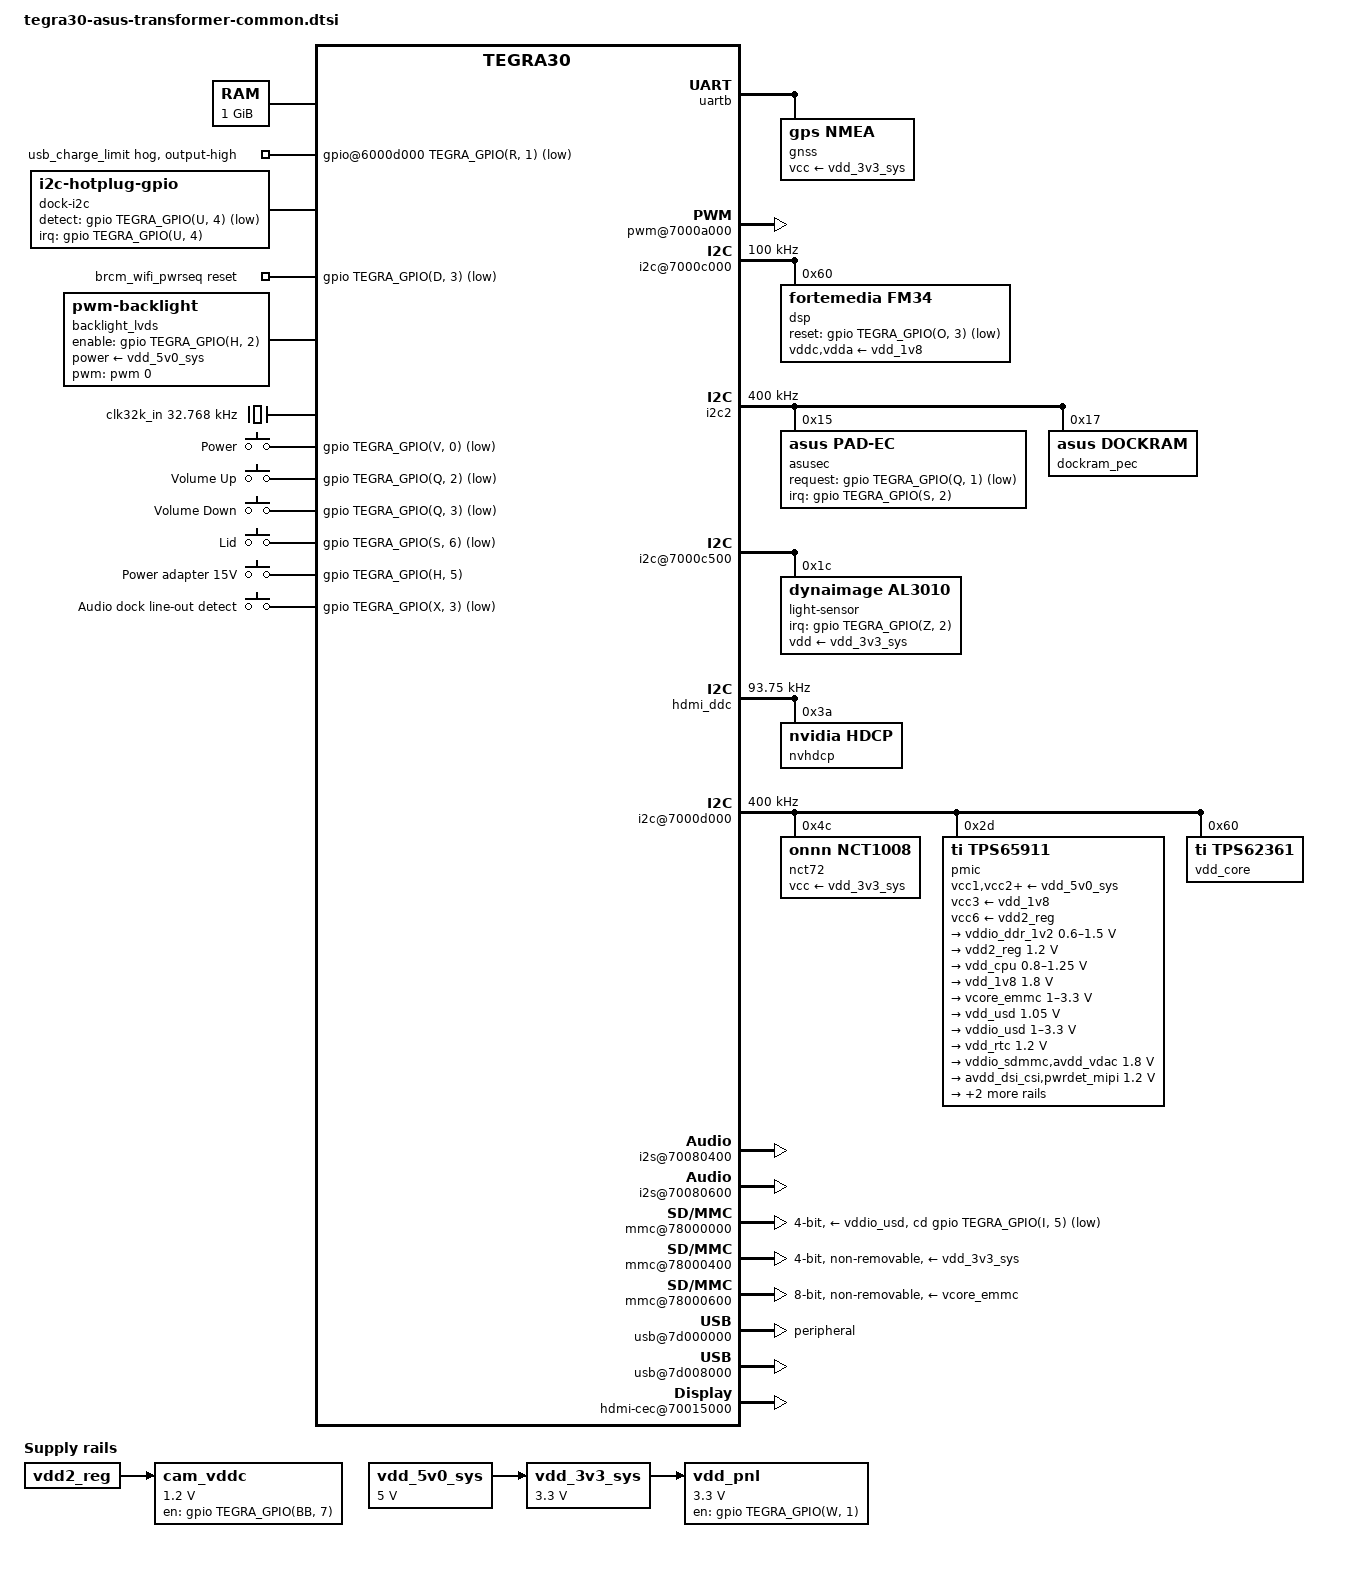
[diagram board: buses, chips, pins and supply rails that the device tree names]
// SPDX-License-Identifier: GPL-2.0

/* This dtsi file describes parts common for all T30 Transformers from Asus */

#include <dt-bindings/input/gpio-keys.h>
#include <dt-bindings/input/input.h>
#include <dt-bindings/thermal/thermal.h>

#include "tegra30.dtsi"
#include "tegra30-cpu-opp.dtsi"
#include "tegra30-cpu-opp-microvolt.dtsi"

/ {
	aliases {
		rtc0 = &pmic;
		rtc1 = "/rtc@7000e000";

		display0 = &lcd;
		display1 = &hdmi;

		serial0 = &uartd; /* reserved: console */
		serial1 = &uartc; /* Bluetooth */
		serial2 = &uartb; /* GPS */
	};

	/*
	 * The decompressor and also some bootloaders rely on a
	 * pre-existing /chosen node to be available to insert the
	 * command line and merge other ATAGS info.
	 */
	chosen {};

	memory@80000000 {
		reg = <0x80000000 0x40000000>;
	};

	reserved-memory {
		#address-cells = <1>;
		#size-cells = <1>;
		ranges;

		linux,cma@80000000 {
			compatible = "shared-dma-pool";
			alloc-ranges = <0x80000000 0x30000000>;
			size = <0x10000000>; /* 256MiB */
			linux,cma-default;
			reusable;
		};

		ramoops@beb00000 {
			compatible = "ramoops";
			reg = <0xbeb00000 0x10000>;	/* 64kB */
			console-size = <0x8000>;	/* 32kB */
			record-size = <0x400>;		/*  1kB */
			ecc-size = <16>;
		};

		framebuffer@abc01000 {
			reg = <0xabc01000 0x3e9000>;
			no-map;
		};

		lp0_vec@bddf9000 {
			reg = <0xbddf9000 0x2000>;	// passed from bootloader (ATAGS/NVIDIA, cmdline)
		};

		trustzone@bfe00000 {
			// used by TF firmware
			reg = <0xbfe00000 0x200000>;	/* 2MB */
			no-map;
		};
	};

	gpio@6000d000 {
		usb_charge_limit {
			gpio-hog;
			gpios = <TEGRA_GPIO(R, 1) GPIO_ACTIVE_LOW>;	// LIMIT_SET0, out, lo; @tegra_udc.LIMIT_PWR [0 = 0.5A, 1 = 1A]
			output-high;
		};
	};

	pinmux@70000868 {
		pinctrl-names = "default";
		pinctrl-0 = <&state_default>;

		state_default: pinmux {
			/* SDMMC1 pinmux */
			sdmmc1_clk_pz0 {
				nvidia,pins = "sdmmc1_clk_pz0";
				nvidia,function = "sdmmc1";
				nvidia,pull = <TEGRA_PIN_PULL_NONE>;
				nvidia,tristate = <TEGRA_PIN_DISABLE>;
				nvidia,enable-input = <TEGRA_PIN_ENABLE>;
			};
			sdmmc1_cmd_pz1 {
				nvidia,pins = "sdmmc1_cmd_pz1",
						"sdmmc1_dat3_py4",
						"sdmmc1_dat2_py5",
						"sdmmc1_dat1_py6",
						"sdmmc1_dat0_py7";
				nvidia,function = "sdmmc1";
				nvidia,pull = <TEGRA_PIN_PULL_UP>;
				nvidia,tristate = <TEGRA_PIN_DISABLE>;
				nvidia,enable-input = <TEGRA_PIN_ENABLE>;
			};

			/* SDMMC3 pinmux */
			vi_d1_pd5 {
				nvidia,pins = "vi_d1_pd5",
						"vi_d2_pl0",
						"vi_d3_pl1",
						"vi_d5_pl3",
						"vi_d7_pl5";
				nvidia,function = "sdmmc2";
				nvidia,pull = <TEGRA_PIN_PULL_NONE>;
				nvidia,tristate = <TEGRA_PIN_DISABLE>;
				nvidia,enable-input = <TEGRA_PIN_ENABLE>;
			};
			vi_d8_pl6 {
				nvidia,pins = "vi_d8_pl6",
						"vi_d9_pl7";
				nvidia,function = "sdmmc2";
				nvidia,pull = <TEGRA_PIN_PULL_NONE>;
				nvidia,tristate = <TEGRA_PIN_DISABLE>;
				nvidia,enable-input = <TEGRA_PIN_ENABLE>;
			};

			/* SDMMC3 pinmux */
			sdmmc3_clk_pa6 {
				nvidia,pins = "sdmmc3_clk_pa6";
				nvidia,function = "sdmmc3";
				nvidia,pull = <TEGRA_PIN_PULL_NONE>;
				nvidia,tristate = <TEGRA_PIN_DISABLE>;
				nvidia,enable-input = <TEGRA_PIN_ENABLE>;
			};
			sdmmc3_cmd_pa7 {
				nvidia,pins = "sdmmc3_cmd_pa7",
						"sdmmc3_dat0_pb7",
						"sdmmc3_dat1_pb6",
						"sdmmc3_dat2_pb5",
						"sdmmc3_dat3_pb4",
						"sdmmc3_dat4_pd1",	/* Power rails GPIO */
						"sdmmc3_dat5_pd0",	/* Power rails GPIO */
						"sdmmc3_dat6_pd3",	/* RESET */
						"sdmmc3_dat7_pd4";	/* Power down */
				nvidia,function = "sdmmc3";
				nvidia,pull = <TEGRA_PIN_PULL_UP>;
				nvidia,tristate = <TEGRA_PIN_DISABLE>;
				nvidia,enable-input = <TEGRA_PIN_ENABLE>;
			};

			/* SDMMC4 pinmux */
			sdmmc4_clk_pcc4 {
				nvidia,pins = "sdmmc4_clk_pcc4";
				nvidia,function = "sdmmc4";
				nvidia,pull = <TEGRA_PIN_PULL_NONE>;
				nvidia,tristate = <TEGRA_PIN_DISABLE>;
				nvidia,enable-input = <TEGRA_PIN_ENABLE>;
			};
			sdmmc4_cmd_pt7 {
				nvidia,pins = "sdmmc4_cmd_pt7",
						"sdmmc4_dat0_paa0",
						"sdmmc4_dat1_paa1",
						"sdmmc4_dat2_paa2",
						"sdmmc4_dat3_paa3",
						"sdmmc4_dat4_paa4",
						"sdmmc4_dat5_paa5",
						"sdmmc4_dat6_paa6",
						"sdmmc4_dat7_paa7";
				nvidia,function = "sdmmc4";
				nvidia,pull = <TEGRA_PIN_PULL_UP>;
				nvidia,tristate = <TEGRA_PIN_DISABLE>;
				nvidia,enable-input = <TEGRA_PIN_ENABLE>;
			};

			/* I2C1 pinmux */
			gen1_i2c_scl_pc4 {
				nvidia,pins = "gen1_i2c_scl_pc4",
						"gen1_i2c_sda_pc5";
				nvidia,function = "i2c1";
				nvidia,pull = <TEGRA_PIN_PULL_NONE>;
				nvidia,tristate = <TEGRA_PIN_DISABLE>;
				nvidia,enable-input = <TEGRA_PIN_ENABLE>;
				nvidia,open-drain = <TEGRA_PIN_ENABLE>;
			};

			/* I2C2 pinmux */
			gen2_i2c_scl_pt5 {
				nvidia,pins = "gen2_i2c_scl_pt5",
						"gen2_i2c_sda_pt6";
				nvidia,function = "i2c2";
				nvidia,pull = <TEGRA_PIN_PULL_NONE>;
				nvidia,tristate = <TEGRA_PIN_DISABLE>;
				nvidia,enable-input = <TEGRA_PIN_ENABLE>;
				nvidia,open-drain = <TEGRA_PIN_ENABLE>;
			};

			/* I2C3 pinmux */
			cam_i2c_scl_pbb1 {
				nvidia,pins = "cam_i2c_scl_pbb1",
						"cam_i2c_sda_pbb2";
				nvidia,function = "i2c3";
				nvidia,pull = <TEGRA_PIN_PULL_NONE>;
				nvidia,tristate = <TEGRA_PIN_DISABLE>;
				nvidia,enable-input = <TEGRA_PIN_ENABLE>;
				nvidia,open-drain = <TEGRA_PIN_ENABLE>;
			};

			/* I2C4 pinmux */
			ddc_scl_pv4 {
				nvidia,pins = "ddc_scl_pv4",
						"ddc_sda_pv5";
				nvidia,function = "i2c4";
				nvidia,pull = <TEGRA_PIN_PULL_NONE>;
				nvidia,tristate = <TEGRA_PIN_DISABLE>;
				nvidia,enable-input = <TEGRA_PIN_ENABLE>;
				nvidia,open-drain = <TEGRA_PIN_ENABLE>;
			};

			/* Power I2C pinmux */
			pwr_i2c_scl_pz6 {
				nvidia,pins = "pwr_i2c_scl_pz6",
						"pwr_i2c_sda_pz7";
				nvidia,function = "i2cpwr";
				nvidia,pull = <TEGRA_PIN_PULL_NONE>;
				nvidia,tristate = <TEGRA_PIN_DISABLE>;
				nvidia,enable-input = <TEGRA_PIN_ENABLE>;
				nvidia,open-drain = <TEGRA_PIN_ENABLE>;
			};

			/* HDMI-CEC  pinmux */
			hdmi_cec_pee3 {
				nvidia,pins = "hdmi_cec_pee3";
				nvidia,function = "cec";
				nvidia,pull = <TEGRA_PIN_PULL_NONE>;
				nvidia,tristate = <TEGRA_PIN_DISABLE>;
				nvidia,enable-input = <TEGRA_PIN_ENABLE>;
				nvidia,open-drain = <TEGRA_PIN_DISABLE>;
			};

			/* UART-A */
			ulpi_data0_po1 {
				nvidia,pins = "ulpi_data0_po1";
				nvidia,function = "uarta";
				nvidia,pull = <TEGRA_PIN_PULL_NONE>;
				nvidia,tristate = <TEGRA_PIN_DISABLE>;
				nvidia,enable-input = <TEGRA_PIN_DISABLE>;
			};
			ulpi_data1_po2 {
				nvidia,pins = "ulpi_data1_po2";
				nvidia,function = "uarta";
				nvidia,pull = <TEGRA_PIN_PULL_DOWN>;
				nvidia,tristate = <TEGRA_PIN_ENABLE>;
				nvidia,enable-input = <TEGRA_PIN_ENABLE>;
			};
			ulpi_data5_po6 {
				nvidia,pins = "ulpi_data5_po6";
				nvidia,function = "uarta";
				nvidia,pull = <TEGRA_PIN_PULL_NONE>;
				nvidia,tristate = <TEGRA_PIN_ENABLE>;
				nvidia,enable-input = <TEGRA_PIN_ENABLE>;
			};
			ulpi_data2_po3 {
				nvidia,pins = "ulpi_data2_po3",
						"ulpi_data3_po4",
						"ulpi_data4_po5",
						"ulpi_data6_po7",
						"ulpi_data7_po0";
				nvidia,function = "uarta";
				nvidia,pull = <TEGRA_PIN_PULL_NONE>;
				nvidia,tristate = <TEGRA_PIN_DISABLE>;
				nvidia,enable-input = <TEGRA_PIN_ENABLE>;
			};

			/* UART-B */
			uart2_rts_n_pj6 {
				nvidia,pins = "uart2_rts_n_pj6";
				nvidia,function = "uartb";
				nvidia,pull = <TEGRA_PIN_PULL_NONE>;
				nvidia,tristate = <TEGRA_PIN_DISABLE>;
				nvidia,enable-input = <TEGRA_PIN_DISABLE>;
			};
			uart2_cts_n_pj5 {
				nvidia,pins = "uart2_cts_n_pj5";
				nvidia,function = "uartb";
				nvidia,pull = <TEGRA_PIN_PULL_NONE>;
				nvidia,tristate = <TEGRA_PIN_DISABLE>;
				nvidia,enable-input = <TEGRA_PIN_ENABLE>;
			};

			/* UART-C */
			uart3_cts_n_pa1 {
				nvidia,pins = "uart3_cts_n_pa1",
						"uart3_rxd_pw7";
				nvidia,function = "uartc";
				nvidia,pull = <TEGRA_PIN_PULL_NONE>;
				nvidia,tristate = <TEGRA_PIN_DISABLE>;
				nvidia,enable-input = <TEGRA_PIN_ENABLE>;
			};
			uart3_rts_n_pc0 {
				nvidia,pins = "uart3_rts_n_pc0",
						"uart3_txd_pw6";
				nvidia,function = "uartc";
				nvidia,pull = <TEGRA_PIN_PULL_NONE>;
				nvidia,tristate = <TEGRA_PIN_DISABLE>;
				nvidia,enable-input = <TEGRA_PIN_DISABLE>;
			};

			/* UART-D */
			ulpi_nxt_py2 {
				nvidia,pins = "ulpi_nxt_py2";
				nvidia,function = "uartd";
				nvidia,pull = <TEGRA_PIN_PULL_NONE>;
				nvidia,tristate = <TEGRA_PIN_ENABLE>;
				nvidia,enable-input = <TEGRA_PIN_ENABLE>;
			};
			ulpi_stp_py3 {
				nvidia,pins = "ulpi_stp_py3",
						"ulpi_clk_py0",		/* UART4_TXD is reserved for UART debug */
						"ulpi_dir_py1";		/* UART4_RXD is reserved for UART debug */
				nvidia,function = "uartd";
				nvidia,pull = <TEGRA_PIN_PULL_NONE>;
				nvidia,tristate = <TEGRA_PIN_ENABLE>;
				nvidia,enable-input = <TEGRA_PIN_DISABLE>;
			};

			/* I2S0 pinmux */
			dap1_fs_pn0 {
				nvidia,pins = "dap1_fs_pn0",
						"dap1_din_pn1",
						"dap1_dout_pn2",
						"dap1_sclk_pn3";
				nvidia,function = "i2s0";
				nvidia,pull = <TEGRA_PIN_PULL_NONE>;
				nvidia,tristate = <TEGRA_PIN_ENABLE>;
				nvidia,enable-input = <TEGRA_PIN_ENABLE>;
			};

			/* I2S1 pinmux */
			dap2_fs_pa2 {
				nvidia,pins = "dap2_fs_pa2",
						"dap2_sclk_pa3",
						"dap2_din_pa4",
						"dap2_dout_pa5";
				nvidia,function = "i2s1";
				nvidia,pull = <TEGRA_PIN_PULL_NONE>;
				nvidia,tristate = <TEGRA_PIN_DISABLE>;
				nvidia,enable-input = <TEGRA_PIN_ENABLE>;
			};

			/* I2S2 pinmux */
			dap3_fs_pp0 {
				nvidia,pins = "dap3_fs_pp0",
						"dap3_din_pp1";
				nvidia,function = "i2s2";
				nvidia,pull = <TEGRA_PIN_PULL_NONE>;
				nvidia,tristate = <TEGRA_PIN_ENABLE>;
				nvidia,enable-input = <TEGRA_PIN_ENABLE>;
			};
			dap2_dout_pp2 {
				nvidia,pins = "dap3_dout_pp2",
						"dap3_sclk_pp3";
				nvidia,function = "i2s2";
				nvidia,pull = <TEGRA_PIN_PULL_NONE>;
				nvidia,tristate = <TEGRA_PIN_DISABLE>;
				nvidia,enable-input = <TEGRA_PIN_ENABLE>;
			};

			/* I2S3 pinmux */
			dap4_fs_pp4 {
				nvidia,pins = "dap4_fs_pp4",
						"dap4_din_pp5",
						"dap4_dout_pp6",
						"dap4_sclk_pp7";
				nvidia,function = "i2s3";
				nvidia,pull = <TEGRA_PIN_PULL_NONE>;
				nvidia,tristate = <TEGRA_PIN_DISABLE>;
				nvidia,enable-input = <TEGRA_PIN_ENABLE>;
			};

			/* I2S4 pinmux */
			pbb2 {
				nvidia,pins = "pcc2";
				nvidia,function = "i2s4";
				nvidia,pull = <TEGRA_PIN_PULL_NONE>;
				nvidia,tristate = <TEGRA_PIN_DISABLE>;
				nvidia,enable-input = <TEGRA_PIN_ENABLE>;
			};

			/* PCI-e pinmux */
			pex_l0_rst_n_pdd1 {
				nvidia,pins = "pex_l0_rst_n_pdd1",
						"pex_l1_rst_n_pdd5",
						"pex_l2_rst_n_pcc6";
				nvidia,function = "pcie";
				nvidia,pull = <TEGRA_PIN_PULL_NONE>;
				nvidia,tristate = <TEGRA_PIN_DISABLE>;
				nvidia,enable-input = <TEGRA_PIN_DISABLE>;
			};
			pex_l0_prsnt_n_pdd0 {
				nvidia,pins = "pex_l0_prsnt_n_pdd0",
						"pex_l0_clkreq_n_pdd2",
						"pex_l1_prsnt_n_pdd4",
						"pex_l1_clkreq_n_pdd6",
						"pex_l2_prsnt_n_pdd7",
						"pex_l2_clkreq_n_pcc7",
						"pex_wake_n_pdd3";
				nvidia,pull = <TEGRA_PIN_PULL_NONE>;
				nvidia,tristate = <TEGRA_PIN_DISABLE>;
				nvidia,enable-input = <TEGRA_PIN_ENABLE>;
			};

			/* SPI pinmux */
			spi1_mosi_px4 {
				nvidia,pins = "spi1_mosi_px4",
						"spi1_sck_px5",
						"spi1_cs0_n_px6",
						"spi1_miso_px7";
				nvidia,function = "spi1";
				nvidia,pull = <TEGRA_PIN_PULL_NONE>;
				nvidia,tristate = <TEGRA_PIN_ENABLE>;
				nvidia,enable-input = <TEGRA_PIN_ENABLE>;
			};
			spi2_cs1_n_pw2 {
				nvidia,pins = "spi2_cs1_n_pw2";		/* hp-detect */
				nvidia,function = "spi2";
				nvidia,pull = <TEGRA_PIN_PULL_UP>;
				nvidia,tristate = <TEGRA_PIN_DISABLE>;
				nvidia,enable-input = <TEGRA_PIN_ENABLE>;
			};
			gmi_a16_pj7 {
				nvidia,pins = "gmi_a16_pj7",		//PCB_ID10
						"gmi_a17_pb0";		//PCB_ID11
				nvidia,function = "spi4";
				nvidia,pull = <TEGRA_PIN_PULL_NONE>;
				nvidia,tristate = <TEGRA_PIN_ENABLE>;
				nvidia,enable-input = <TEGRA_PIN_ENABLE>;
			};
			gmi_a18_pb1 {
				nvidia,pins = "gmi_a18_pb1",
						"gmi_a19_pk7";
				nvidia,function = "spi4";
				nvidia,pull = <TEGRA_PIN_PULL_NONE>;
				nvidia,tristate = <TEGRA_PIN_DISABLE>;
				nvidia,enable-input = <TEGRA_PIN_ENABLE>;
			};

			/* Display A pinmux */
			lcd_d0_pe0 {
				nvidia,pins = "lcd_d0_pe0",
						"lcd_d1_pe1",
						"lcd_d2_pe2",
						"lcd_d3_pe3",
						"lcd_d4_pe4",
						"lcd_d5_pe5",
						"lcd_d6_pe6",
						"lcd_d7_pe7",
						"lcd_d8_pf0",
						"lcd_d9_pf1",
						"lcd_d10_pf2",
						"lcd_d11_pf3",
						"lcd_d12_pf4",
						"lcd_d13_pf5",
						"lcd_d14_pf6",
						"lcd_d15_pf7",
						"lcd_d16_pm0",
						"lcd_d17_pm1",
						"lcd_d18_pm2",
						"lcd_d19_pm3",
						"lcd_d20_pm4",
						"lcd_d21_pm5",
						"lcd_d22_pm6",
						"lcd_d23_pm7",
						"lcd_pwr0_pb2",
						"lcd_pwr1_pc1",
						"lcd_sdin_pz2",
						"lcd_dc0_pn6",
						"lcd_pclk_pb3",
						"lcd_de_pj1",
						"lcd_hsync_pj3",
						"lcd_vsync_pj4";
				nvidia,function = "displaya";
				nvidia,pull = <TEGRA_PIN_PULL_NONE>;
				nvidia,tristate = <TEGRA_PIN_DISABLE>;
				nvidia,enable-input = <TEGRA_PIN_ENABLE>;
			};
			lcd_wr_n_pz3 {
				nvidia,pins = "lcd_wr_n_pz3",
						"lcd_sdout_pn5",
						"lcd_cs0_n_pn4";	/* bat detection */
				nvidia,function = "displaya";
				nvidia,pull = <TEGRA_PIN_PULL_NONE>;
				nvidia,tristate = <TEGRA_PIN_ENABLE>;
				nvidia,enable-input = <TEGRA_PIN_ENABLE>;
			};
			clk_32k_out_pa0 {
				nvidia,pins = "clk_32k_out_pa0";
				nvidia,function = "blink";
				nvidia,pull = <TEGRA_PIN_PULL_NONE>;
				nvidia,tristate = <TEGRA_PIN_DISABLE>;
				nvidia,enable-input = <TEGRA_PIN_DISABLE>;
			};

			/* KBC keys */
			kb_col0_pq0 {
				nvidia,pins = "kb_col0_pq0",
						"kb_col1_pq1",		/* pad req */
						"kb_row1_pr1",		/* USB charging control */
						"kb_row3_pr3",		/* unknown */
						"kb_row8_ps0",		/* power rails GPIO */
						"kb_row10_ps2",		/* pad irq */
						"kb_row14_ps6",		/* hall sensor */
						"kb_row15_ps7";		/* dock irq */
				nvidia,function = "kbc";
				nvidia,pull = <TEGRA_PIN_PULL_UP>;
				nvidia,tristate = <TEGRA_PIN_DISABLE>;
				nvidia,enable-input = <TEGRA_PIN_ENABLE>;
			};
			kb_col4_pq4 {
				nvidia,pins = "kb_col4_pq4",
						"kb_col5_pq5",
						"kb_col7_pq7",
						"kb_row2_pr2",
						"kb_row4_pr4",
						"kb_row5_pr5",
						"kb_row12_ps4",		/* low bat detection */
						"kb_row13_ps5";
				nvidia,function = "kbc";
				nvidia,pull = <TEGRA_PIN_PULL_NONE>;
				nvidia,tristate = <TEGRA_PIN_ENABLE>;
				nvidia,enable-input = <TEGRA_PIN_ENABLE>;
			};
			kb_row0_pr0 {
				nvidia,pins = "kb_row0_pr0";
				nvidia,function = "rsvd";
				nvidia,pull = <TEGRA_PIN_PULL_UP>;
				nvidia,tristate = <TEGRA_PIN_DISABLE>;
				nvidia,enable-input = <TEGRA_PIN_DISABLE>;
			};
			pv0 {
				nvidia,pins = "pv0",			/* power */
						"kb_col2_pq2",		/* vol up */
						"kb_col3_pq3";		/* vol down */
				nvidia,function = "rsvd";
				nvidia,pull = <TEGRA_PIN_PULL_UP>;
				nvidia,tristate = <TEGRA_PIN_ENABLE>;
				nvidia,enable-input = <TEGRA_PIN_ENABLE>;
			};

			sdmmc4_rst_n_pcc3 {
				nvidia,pins = "sdmmc4_rst_n_pcc3", "pu6";
				nvidia,function = "rsvd1";
				nvidia,pull = <TEGRA_PIN_PULL_DOWN>;
				nvidia,tristate = <TEGRA_PIN_DISABLE>;
				nvidia,enable-input = <TEGRA_PIN_ENABLE>;
			};
			gmi_cs0_n_pj0 {
				nvidia,pins = "gmi_cs0_n_pj0",
						"gmi_cs1_n_pj2",
						"gmi_cs2_n_pk3",
						"gmi_cs3_n_pk4",
						"gmi_wait_pi7",
						"gmi_wp_n_pc7";
				nvidia,function = "rsvd1";
				nvidia,pull = <TEGRA_PIN_PULL_NONE>;
				nvidia,tristate = <TEGRA_PIN_ENABLE>;
				nvidia,enable-input = <TEGRA_PIN_ENABLE>;
			};
			gmi_iordy_pi5 {
				nvidia,pins = "gmi_iordy_pi5",		/* usd-card detect */
						"vi_d11_pt3",		/* sd-wp-gpio */
						"pu4";			/* dock in detect */
				nvidia,function = "rsvd1";
				nvidia,pull = <TEGRA_PIN_PULL_UP>;
				nvidia,tristate = <TEGRA_PIN_DISABLE>;
				nvidia,enable-input = <TEGRA_PIN_ENABLE>;
			};
			vi_pclk_pt0 {
				nvidia,pins = "vi_pclk_pt0";		/* reg */
				nvidia,function = "rsvd1";
				nvidia,pull = <TEGRA_PIN_PULL_UP>;
				nvidia,tristate = <TEGRA_PIN_ENABLE>;
				nvidia,enable-input = <TEGRA_PIN_ENABLE>;
			};
			pv2 {
				nvidia,pins = "pv2", "pu1",
						"pu3";			/* docking thermal pwr control */
				nvidia,function = "rsvd1";
				nvidia,pull = <TEGRA_PIN_PULL_NONE>;
				nvidia,tristate = <TEGRA_PIN_DISABLE>;
				nvidia,enable-input = <TEGRA_PIN_DISABLE>;
			};
			vi_d0_pt4 {
				nvidia,pins = "vi_d0_pt4",
						"vi_d10_pt2",
						"vi_hsync_pd7",
						"vi_vsync_pd6",
						"pbb0", "pu0", "pu2";
				nvidia,function = "rsvd1";
				nvidia,pull = <TEGRA_PIN_PULL_NONE>;
				nvidia,tristate = <TEGRA_PIN_DISABLE>;
				nvidia,enable-input = <TEGRA_PIN_ENABLE>;
			};
			pv3 {
				nvidia,pins = "pv3";
				nvidia,function = "rsvd1";
				nvidia,pull = <TEGRA_PIN_PULL_NONE>;
				nvidia,tristate = <TEGRA_PIN_ENABLE>;
				nvidia,enable-input = <TEGRA_PIN_DISABLE>;
			};
			pcc1 {
				nvidia,pins = "pcc1";
				nvidia,function = "rsvd1";
				nvidia,pull = <TEGRA_PIN_PULL_NONE>;
				nvidia,tristate = <TEGRA_PIN_ENABLE>;
				nvidia,enable-input = <TEGRA_PIN_ENABLE>;
			};

			crt_hsync_pv6 {
				nvidia,pins = "crt_hsync_pv6",
						"crt_vsync_pv7";
				nvidia,function = "crt";
				nvidia,pull = <TEGRA_PIN_PULL_NONE>;
				nvidia,tristate = <TEGRA_PIN_ENABLE>;
				nvidia,enable-input = <TEGRA_PIN_DISABLE>;
			};
			gmi_ad8_ph0 {
				nvidia,pins = "gmi_ad8_ph0";		/* LCD1_BL_PWM */
				nvidia,function = "pwm0";
				nvidia,pull = <TEGRA_PIN_PULL_NONE>;
				nvidia,tristate = <TEGRA_PIN_DISABLE>;
				nvidia,enable-input = <TEGRA_PIN_DISABLE>;
			};
			pu5 {
				nvidia,pins = "pu5";
				nvidia,function = "pwm2";
				nvidia,pull = <TEGRA_PIN_PULL_NONE>;
				nvidia,tristate = <TEGRA_PIN_ENABLE>;
				nvidia,enable-input = <TEGRA_PIN_ENABLE>;
			};
			cam_mclk_pcc0 {
				nvidia,pins = "cam_mclk_pcc0";
				nvidia,function = "vi_alt2";
				nvidia,pull = <TEGRA_PIN_PULL_UP>;
				nvidia,tristate = <TEGRA_PIN_DISABLE>;
				nvidia,enable-input = <TEGRA_PIN_ENABLE>;
			};
			jtag_rtck_pu7 {
				nvidia,pins = "jtag_rtck_pu7";
				nvidia,function = "rtck";
				nvidia,pull = <TEGRA_PIN_PULL_NONE>;
				nvidia,tristate = <TEGRA_PIN_DISABLE>;
				nvidia,enable-input = <TEGRA_PIN_DISABLE>;
			};

			vi_d4_pl2 {
				nvidia,pins = "vi_d4_pl2",
						"vi_d6_pl4";
				nvidia,function = "vi";
				nvidia,pull = <TEGRA_PIN_PULL_NONE>;
				nvidia,tristate = <TEGRA_PIN_DISABLE>;
				nvidia,enable-input = <TEGRA_PIN_DISABLE>;
			};
			vi_mclk_pt1 {
				nvidia,pins = "vi_mclk_pt1";
				nvidia,function = "vi";
				nvidia,pull = <TEGRA_PIN_PULL_UP>;
				nvidia,tristate = <TEGRA_PIN_DISABLE>;
				nvidia,enable-input = <TEGRA_PIN_ENABLE>;
			};

			clk3_req_pee1 {
				nvidia,pins = "clk3_req_pee1";
				nvidia,function = "dev3";
				nvidia,pull = <TEGRA_PIN_PULL_NONE>;
				nvidia,tristate = <TEGRA_PIN_ENABLE>;
				nvidia,enable-input = <TEGRA_PIN_ENABLE>;
			};
			gmi_cs4_n_pk2 {
				nvidia,pins = "gmi_cs4_n_pk2",
						"gmi_cs6_n_pi3";
				nvidia,function = "gmi";
				nvidia,pull = <TEGRA_PIN_PULL_NONE>;
				nvidia,tristate = <TEGRA_PIN_ENABLE>;
				nvidia,enable-input = <TEGRA_PIN_ENABLE>;
			};
			spi2_sck_px2 {
				nvidia,pins = "spi2_sck_px2";		/* Power rails GPIO */
				nvidia,function = "gmi";
				nvidia,pull = <TEGRA_PIN_PULL_NONE>;
				nvidia,tristate = <TEGRA_PIN_DISABLE>;
				nvidia,enable-input = <TEGRA_PIN_ENABLE>;
			};
			owr {
				nvidia,pins = "owr";
				nvidia,function = "owr";
				nvidia,pull = <TEGRA_PIN_PULL_NONE>;
				nvidia,tristate = <TEGRA_PIN_DISABLE>;
				nvidia,enable-input = <TEGRA_PIN_ENABLE>;
			};
			sys_clk_req_pz5 {
				nvidia,pins = "sys_clk_req_pz5";
				nvidia,function = "sysclk";
				nvidia,pull = <TEGRA_PIN_PULL_NONE>;
				nvidia,tristate = <TEGRA_PIN_DISABLE>;
				nvidia,enable-input = <TEGRA_PIN_DISABLE>;
			};
			clk1_out_pw4 {
				nvidia,pins = "clk1_out_pw4";
				nvidia,function = "extperiph1";
				nvidia,pull = <TEGRA_PIN_PULL_NONE>;
				nvidia,tristate = <TEGRA_PIN_DISABLE>;
				nvidia,enable-input = <TEGRA_PIN_ENABLE>;
			};
			clk2_out_pw5 {
				nvidia,pins = "clk2_out_pw5";
				nvidia,function = "extperiph2";
				nvidia,pull = <TEGRA_PIN_PULL_NONE>;
				nvidia,tristate = <TEGRA_PIN_DISABLE>;
				nvidia,enable-input = <TEGRA_PIN_ENABLE>;
			};
			clk3_out_pee0 {
				nvidia,pins = "clk3_out_pee0";
				nvidia,function = "extperiph3";
				nvidia,pull = <TEGRA_PIN_PULL_NONE>;
				nvidia,tristate = <TEGRA_PIN_DISABLE>;
				nvidia,enable-input = <TEGRA_PIN_DISABLE>;
			};
			clk2_req_pcc5 {
				nvidia,pins = "clk1_req_pee2",
						"clk2_req_pcc5";
				nvidia,function = "dap";
				nvidia,pull = <TEGRA_PIN_PULL_NONE>;
				nvidia,tristate = <TEGRA_PIN_DISABLE>;
				nvidia,enable-input = <TEGRA_PIN_ENABLE>;
			};
			spdif_out_pk5 {
				nvidia,pins = "spdif_out_pk5";
				nvidia,function = "spdif";
				nvidia,pull = <TEGRA_PIN_PULL_NONE>;
				nvidia,tristate = <TEGRA_PIN_DISABLE>;
				nvidia,enable-input = <TEGRA_PIN_DISABLE>;
			};
			spdif_in_pk6 {
				nvidia,pins = "spdif_in_pk6";
				nvidia,function = "spdif";
				nvidia,pull = <TEGRA_PIN_PULL_NONE>;
				nvidia,tristate = <TEGRA_PIN_DISABLE>;
				nvidia,enable-input = <TEGRA_PIN_ENABLE>;
			};

			pbb4 {
				nvidia,pins = "pbb4";			/* Power rails GPIO */
				nvidia,function = "vgp4";
				nvidia,pull = <TEGRA_PIN_PULL_NONE>;
				nvidia,tristate = <TEGRA_PIN_DISABLE>;
				nvidia,enable-input = <TEGRA_PIN_ENABLE>;
			};
			pbb5 {
				nvidia,pins = "pbb5";
				nvidia,function = "vgp5";
				nvidia,pull = <TEGRA_PIN_PULL_NONE>;
				nvidia,tristate = <TEGRA_PIN_DISABLE>;
				nvidia,enable-input = <TEGRA_PIN_ENABLE>;
			};
			pbb6 {
				nvidia,pins = "pbb6";
				nvidia,function = "vgp6";
				nvidia,pull = <TEGRA_PIN_PULL_NONE>;
				nvidia,tristate = <TEGRA_PIN_DISABLE>;
				nvidia,enable-input = <TEGRA_PIN_ENABLE>;
			};

			/* HDMI hot-plug-detect */
			hdmi_int_pn7 {
				nvidia,pins = "hdmi_int_pn7";
				nvidia,function = "rsvd0";
				nvidia,pull = <TEGRA_PIN_PULL_NONE>;
				nvidia,tristate = <TEGRA_PIN_ENABLE>;
				nvidia,enable-input = <TEGRA_PIN_ENABLE>;
			};

			/* Touch panel GPIO */
			gmi_ad12_ph4 {
				nvidia,pins = "gmi_cs7_n_pi6",
						"gmi_ad12_ph4";		/* Touch IRQ */
				nvidia,function = "nand";
				nvidia,pull = <TEGRA_PIN_PULL_UP>;
				nvidia,tristate = <TEGRA_PIN_DISABLE>;
				nvidia,enable-input = <TEGRA_PIN_ENABLE>;
			};
			gmi_ad10_ph2 {
				nvidia,pins = "gmi_ad10_ph2",
						"gmi_ad11_ph3",
						"gmi_ad14_ph6",		/* Touch RESET */
						"gmi_rst_n_pi4";
				nvidia,function = "nand";
				nvidia,pull = <TEGRA_PIN_PULL_NONE>;
				nvidia,tristate = <TEGRA_PIN_DISABLE>;
				nvidia,enable-input = <TEGRA_PIN_DISABLE>;
			};
			gmi_ad13_ph5 {
				nvidia,pins = "gmi_ad13_ph5";
				nvidia,function = "nand";
				nvidia,pull = <TEGRA_PIN_PULL_NONE>;
				nvidia,tristate = <TEGRA_PIN_DISABLE>;
				nvidia,enable-input = <TEGRA_PIN_ENABLE>;
			};

			/* Vibrator control */
			gmi_ad15_ph7 {
				nvidia,pins = "gmi_ad15_ph7";
				nvidia,function = "nand";
				nvidia,pull = <TEGRA_PIN_PULL_DOWN>;
				nvidia,tristate = <TEGRA_PIN_DISABLE>;
				nvidia,enable-input = <TEGRA_PIN_DISABLE>;
			};

			gmi_adv_n_pk0 {
				nvidia,pins = "gmi_adv_n_pk0",
						"gmi_clk_pk1",
						"gmi_ad0_pg0",
						"gmi_ad1_pg1",
						"gmi_ad2_pg2",
						"gmi_ad3_pg3",
						"gmi_ad6_pg6",
						"gmi_ad7_pg7",
						"gmi_wr_n_pi0",
						"gmi_oe_n_pi1",
						"gmi_dqs_pi2";
				nvidia,function = "nand";
				nvidia,pull = <TEGRA_PIN_PULL_NONE>;
				nvidia,tristate = <TEGRA_PIN_ENABLE>;
				nvidia,enable-input = <TEGRA_PIN_DISABLE>;
			};

			/* Memory bootstrap */
			gmi_ad4_pg4 {
				nvidia,pins = "gmi_ad4_pg4",
						"gmi_ad5_pg5";
				nvidia,function = "nand";
				nvidia,pull = <TEGRA_PIN_PULL_NONE>;
				nvidia,tristate = <TEGRA_PIN_DISABLE>;
				nvidia,enable-input = <TEGRA_PIN_ENABLE>;
			};
		};
	};

	uartb: serial@70006040 {
		compatible = "nvidia,tegra30-hsuart";
		status = "okay";

		/* Broadcom GPS BCM47511 */
		gnss {
			compatible = "gps,nmea";
			vcc-supply = <&vdd_3v3_sys>;
		};
	};

	pwm@7000a000 {
		status = "okay";
	};

	i2c@7000c000 {		/*i2c1*/
		status = "okay";
		clock-frequency = <100000>;

		/* Fortemedia FM34NE voice processor */
		dsp@60 {
			compatible = "fortemedia,fm34";
			reg = <0x60>;
			vddc-supply = <&vdd_1v8>;
			vdda-supply = <&vdd_1v8>;									/* fm34_power_down */
			reset-gpios = <&gpio TEGRA_GPIO(O, 3) GPIO_ACTIVE_LOW>;		/* fm34_reset, out, hi */
		};
	};

	i2c2: i2c@7000c400 {		/*i2c2*/
		status = "okay";
		clock-frequency = <400000>;

		/* Nuvoton NPCE795LA0BX embedded controller */
		asusec@15 {
			compatible = "asus,pad-ec", "asus,ec";
			reg = <0x15>;
			interrupt-parent = <&gpio>;
			interrupts = <TEGRA_GPIO(S, 2) IRQ_TYPE_LEVEL_LOW>;		/* asuspec_apwake, in, hi */
			request-gpio = <&gpio TEGRA_GPIO(Q, 1) GPIO_ACTIVE_LOW>;	/* asuspec_request, out, hi */
			asus,dockram = <&dockram_pec>;

			/* Texas Instruments bq24725 SMBus Charge Controller */
			pad_battery: battery {
//				power-supplies = <&dock_battery>;
				charge-full-design = <2940>;	/* mAh */
				non-removable;
			};
		};

		dockram_pec: dockram@17 {
			compatible = "asus,dockram";
			reg = <0x17>;
		};
	};

	dock-i2c {
		compatible = "i2c-hotplug-gpio";

		#address-cells = <1>;
		#size-cells = <0>;

		interrupts-extended = <&gpio TEGRA_GPIO(U, 4) IRQ_TYPE_EDGE_BOTH>;
		detect-gpios = <&gpio TEGRA_GPIO(U, 4) GPIO_ACTIVE_LOW>;		/* asusdec_dock_in, in, lo [in-dock] */

		i2c-parent = <&i2c2>;

		asusec@19 {
			compatible = "asus,dock-ec", "asus,ec";
			reg = <0x19>;
			interrupt-parent = <&gpio>;
			interrupts = <TEGRA_GPIO(S, 7) IRQ_TYPE_LEVEL_LOW>;		/* asusdec_input, in, hi */
			request-gpio = <&gpio TEGRA_GPIO(Q, 6) GPIO_ACTIVE_LOW>;	/* asusdec_request, out, hi */
			asus,dockram = <&dockram_dec>;

			dock_battery: battery {
				charge-full-design = <2260>;	/* mAh */
			};
		};

		dockram_dec: dockram@1b {
			compatible = "asus,dockram";
			reg = <0x1b>;
		};
	};

	i2c@7000c500 {		/*i2c3*/
		status = "okay";

		/* Dynaimage ambient light sensor */
		light-sensor@1c {
			compatible = "dynaimage,al3010";
			reg = <0x1c>;

			interrupt-parent = <&gpio>;
			interrupts = <TEGRA_GPIO(Z, 2) IRQ_TYPE_LEVEL_HIGH>;

			vdd-supply = <&vdd_3v3_sys>;
		};
	};

	hdmi_ddc: i2c@7000c700 {		/*i2c4*/
		status = "okay";
		clock-frequency = <93750>;

		nvhdcp@3a {
			compatible = "nvidia,hdcp";
			reg = <0x3a>;
		};
	};

	i2c@7000d000 {		/*i2c5*/
		status = "okay";
		clock-frequency = <400000>;

		nct72: temperature-sensor@4c {
			compatible = "onnn,nct1008";
			reg = <0x4c>;
			vcc-supply = <&vdd_3v3_sys>;
			#thermal-sensor-cells = <1>;
		};

		/* Texas Instruments TPS659110 PMIC */
		pmic: pmic@2d {
			compatible = "ti,tps65911";
			reg = <0x2d>;

			interrupts = <GIC_SPI 86 IRQ_TYPE_LEVEL_HIGH>;
			#interrupt-cells = <2>;
			interrupt-controller;

			ti,en-gpio-sleep = <0 0 1 0 0 0 0 0 0>;
			ti,system-power-controller;
			ti,sleep-keep-ck32k;
			ti,sleep-enable;

			#gpio-cells = <2>;
			gpio-controller;

			vcc1-supply = <&vdd_5v0_sys>;
			vcc2-supply = <&vdd_5v0_sys>;
			vcc3-supply = <&vdd_1v8>;
			vcc4-supply = <&vdd_5v0_sys>;
			vcc5-supply = <&vdd_5v0_sys>;
			vcc6-supply = <&vdd2_reg>;
			vcc7-supply = <&vdd_5v0_sys>;
			vccio-supply = <&vdd_5v0_sys>;

			regulators {
				vdd1 {
					regulator-name = "vddio_ddr_1v2";
					regulator-min-microvolt = <600000>;
					regulator-max-microvolt = <1500000>;
					regulator-always-on;
					regulator-boot-on;
					ti,regulator-ext-sleep-control = <8>;
				};

				vdd2_reg: vdd2 {
					regulator-name = "vdd2_1v2";
					regulator-min-microvolt = <1200000>;
					regulator-max-microvolt = <1200000>;
					regulator-always-on;
					regulator-boot-on;
				};

				vdd_cpu: vddctrl {
					regulator-name = "vdd_cpu,vdd_sys";
					regulator-min-microvolt = <800000>;
					regulator-max-microvolt = <1250000>;
					regulator-coupled-with = <&vdd_core>;
					regulator-coupled-max-spread = <300000>;
					regulator-max-step-microvolt = <100000>;
					regulator-always-on;
					ti,regulator-ext-sleep-control = <1>;

					nvidia,tegra-cpu-regulator;
				};

				vdd_1v8: vio {
					regulator-name = "vdd_1v8_gen";
					regulator-min-microvolt = <1800000>;
					regulator-max-microvolt = <1800000>;
					regulator-always-on;
					regulator-boot-on;
				};

				/* eMMC VDD */
				vcore_emmc: ldo1 {
					regulator-name = "vdd_pexa,vdd_pexb";
					regulator-min-microvolt = <1000000>;
					regulator-max-microvolt = <3300000>;
					regulator-always-on;
				};

				/* uSD slot VDD */
				vdd_usd: ldo2 {
					regulator-name = "vdd_sata,avdd_plle";
					regulator-min-microvolt = <1050000>;
					regulator-max-microvolt = <1050000>;
				};

				/* uSD slot VDDIO */
				vddio_usd: ldo3 {
					regulator-name = "vddio_usd";
					regulator-min-microvolt = <1000000>;
					regulator-max-microvolt = <3300000>;
				};

				ldo4 {
					regulator-name = "vdd_rtc";
					regulator-min-microvolt = <1200000>;
					regulator-max-microvolt = <1200000>;
					regulator-always-on;
				};

				ldo5 {
					regulator-name = "vddio_sdmmc,avdd_vdac";
					regulator-min-microvolt = <1800000>;
					regulator-max-microvolt = <1800000>;
				};

				ldo6 {
					regulator-name = "avdd_dsi_csi,pwrdet_mipi";
					regulator-min-microvolt = <1200000>;
					regulator-max-microvolt = <1200000>;
				};

				ldo7 {
					regulator-name = "vdd_pllm,x,u,a_p_c_s";
					regulator-min-microvolt = <1200000>;
					regulator-max-microvolt = <1200000>;
					regulator-always-on;
					regulator-boot-on;
					ti,regulator-ext-sleep-control = <8>;
				};

				ldo8 {
					regulator-name = "vdd_ddr_hs";
					regulator-min-microvolt = <1000000>;
					regulator-max-microvolt = <1000000>;
					regulator-always-on;
					ti,regulator-ext-sleep-control = <8>;
				};
			};
		};

		vdd_core: core-regulator@60 {
			compatible = "ti,tps62361";
			reg = <0x60>;

			regulator-name = "tps62361-vout";
			regulator-min-microvolt = <500000>;
			regulator-max-microvolt = <1350000>;
			regulator-coupled-with = <&vdd_cpu>;
			regulator-coupled-max-spread = <300000>;
			regulator-max-step-microvolt = <100000>;
			regulator-boot-on;
			regulator-always-on;
			ti,enable-vout-discharge;
			ti,vsel0-state-high;
			ti,vsel1-state-high;

			nvidia,tegra-core-regulator;
		};
	};

	regulators {
		compatible = "simple-bus";
		#address-cells = <1>;
		#size-cells = <0>;

		vdd_5v0_sys: regulator@0 {
			compatible = "regulator-fixed";
			reg = <0>;
			regulator-name = "vdd_5v0";
			regulator-min-microvolt = <5000000>;
			regulator-max-microvolt = <5000000>;
			regulator-always-on;
			regulator-boot-on;
		};

		vdd_3v3_sys: regulator@1 {
			compatible = "regulator-fixed";
			reg = <1>;
			regulator-name = "vdd_3v3";
			regulator-min-microvolt = <3300000>;
			regulator-max-microvolt = <3300000>;
			regulator-always-on;
			regulator-boot-on;
			vin-supply = <&vdd_5v0_sys>;
		};

		vdd_pnl: regulator@2 {
			compatible = "regulator-fixed";
			reg = <2>;
			regulator-name = "vdd_panel";
			regulator-min-microvolt = <3300000>;
			regulator-max-microvolt = <3300000>;
			regulator-enable-ramp-delay = <300000>;
			gpio = <&gpio TEGRA_GPIO(W, 1) GPIO_ACTIVE_HIGH>;
			enable-active-high;
			vin-supply = <&vdd_3v3_sys>;
		};

		cam_vddc: regulator@3 {
			compatible = "regulator-fixed";
			reg = <3>;
			regulator-name = "camera_vddc";
			regulator-min-microvolt = <1200000>;
			regulator-max-microvolt = <1200000>;
			gpio = <&gpio TEGRA_GPIO(BB, 7) GPIO_ACTIVE_HIGH>;
			enable-active-high;
			vin-supply = <&vdd2_reg>;
		};
	};

	pmc@7000e400 {
		status = "okay";
		nvidia,invert-interrupt;
		nvidia,suspend-mode = <1>;
		nvidia,cpu-pwr-good-time = <2000>;
		nvidia,cpu-pwr-off-time = <200>;
		nvidia,core-pwr-good-time = <3845 3845>;
		nvidia,core-pwr-off-time = <0>;
		nvidia,core-power-req-active-high;
		nvidia,sys-clock-req-active-high;
		nvidia,lp0-vec = <0xbddf9000 0x2000>;	// passed by bootloader

		/* Set DEV_OFF + PWR_OFF_SET bit in DCDC control register of TPS65911 PMIC  */
		i2c-thermtrip {
			nvidia,i2c-controller-id = <4>;
			nvidia,bus-addr = <0x2d>;
			nvidia,reg-addr = <0x3f>;
			nvidia,reg-data = <0x81>;
		};
	};

	ahub@70080000 {
		i2s@70080400 {		/* i2s1 */
			status = "okay";
		};

		/* BT SCO */
		i2s@70080600 {		/* i2s3 */
			status = "okay";
		};
	};

	/* uSD slot on left side */
	mmc@78000000 {		/* sdmmc1 */
		status = "okay";

		cd-gpios = <&gpio TEGRA_GPIO(I, 5) GPIO_ACTIVE_LOW>;	// sdhci_cd, in, lo [card in]
		bus-width = <4>;

		vmmc-supply = <&vddio_usd>;	/* ldo3 */
		vqmmc-supply = <&vdd_usd>;	/* ldo2 */
	};

	brcm_wifi_pwrseq: wifi-pwrseq {
		compatible = "mmc-pwrseq-simple";

		clocks = <&tegra_pmc TEGRA_PMC_CLK_BLINK>;
		clock-names = "ext_clock";

		reset-gpios = <&gpio TEGRA_GPIO(D, 3) GPIO_ACTIVE_LOW>;	// wlan_rst, out, lo [wifi-off]
		post-power-on-delay-ms = <300>;
		power-off-delay-us = <300>;
	};

	/* internal SDIO WiFi */
	mmc@78000400 {		/* sdmmc3 */
		status = "okay";

		#address-cells = <1>;
		#size-cells = <0>;

		keep-power-in-suspend;
		bus-width = <4>;
		non-removable;

		mmc-pwrseq = <&brcm_wifi_pwrseq>;
		vmmc-supply = <&vdd_3v3_sys>;
		vqmmc-supply = <&vdd_1v8>;

		/* WIFI setup is in dts */
	};

	/* internal eMMC */
	mmc@78000600 {		/* sdmmc4 */
		status = "okay";
		bus-width = <8>;
		vmmc-supply = <&vcore_emmc>;
		vqmmc-supply = <&vdd_1v8>;
		non-removable;
	};

	/* USB via ASUS connector */
	usb@7d000000 {			/* usb1 */
		compatible = "nvidia,tegra30-udc";
		status = "okay";
		dr_mode = "peripheral";
	};

	usb-phy@7d000000 {		/* phy1 */
		status = "okay";
		dr_mode = "peripheral";
		nvidia,hssync-start-delay = <0>;
		nvidia,xcvr-lsfslew = <2>;
		nvidia,xcvr-lsrslew = <2>;
	};

	/* Dock's USB port */
	usb@7d008000 {			/* usb3 */
		status = "okay";
	};

	usb-phy@7d008000 {		/* phy3 */
		status = "okay";
	};

	backlight_lvds: backlight-lvds {
		compatible = "pwm-backlight";

		enable-gpios = <&gpio TEGRA_GPIO(H, 2) GPIO_ACTIVE_HIGH>;
		power-supply = <&vdd_5v0_sys>;
		pwms = <&pwm 0 5000000>;

		brightness-levels = <2 4 8 16 32 64 128 255>;
		default-brightness-level = <6>;
	};

	clocks {
		compatible = "simple-bus";
		#address-cells = <1>;
		#size-cells = <0>;

		clk32k_in: clock@0 {
			compatible = "fixed-clock";
			reg = <0>;
			#clock-cells = <0>;
			clock-frequency = <32768>;
		};

		// TODO: clk_out2 <- clk_m [26 MHz]
	};

	cpus {
		cpu0: cpu@0 {
			cpu-supply = <&vdd_cpu>;
			operating-points-v2 = <&cpu0_opp_table>;
			#cooling-cells = <2>;
		};
		cpu@1 {
			cpu-supply = <&vdd_cpu>;
			operating-points-v2 = <&cpu0_opp_table>;
		};
		cpu@2 {
			cpu-supply = <&vdd_cpu>;
			operating-points-v2 = <&cpu0_opp_table>;
		};
		cpu@3 {
			cpu-supply = <&vdd_cpu>;
			operating-points-v2 = <&cpu0_opp_table>;
		};
	};

	firmware {
		trusted-foundations {
			compatible = "tlm,trusted-foundations";
			tlm,version-major = <2>;
			tlm,version-minor = <8>;
		};
	};

	gpio-keys {
		compatible = "gpio-keys";
		interrupt-parent = <&gpio>;

		power {
			label = "Power";
			gpios = <&gpio TEGRA_GPIO(V, 0) GPIO_ACTIVE_LOW>;	/* KEY_POWER, in, hi */
			linux,code = <KEY_POWER>;
			debounce-interval = <10>;
			wakeup-event-action = <EV_ACT_ASSERTED>;
			wakeup-source;
		};

		volume-up {
			label = "Volume Up";
			gpios = <&gpio TEGRA_GPIO(Q, 2) GPIO_ACTIVE_LOW>;	/* KEY_VOLUMEUP, in, hi */
			linux,code = <KEY_VOLUMEUP>;
			debounce-interval = <10>;
			wakeup-event-action = <EV_ACT_ASSERTED>;
			wakeup-source;
		};

		volume-down {
			label = "Volume Down";
			gpios = <&gpio TEGRA_GPIO(Q, 3) GPIO_ACTIVE_LOW>;	/* KEY_VOLUMEDOWN, in, hi */
			linux,code = <KEY_VOLUMEDOWN>;
			debounce-interval = <10>;
			wakeup-event-action = <EV_ACT_ASSERTED>;
			wakeup-source;
		};

		dock-hall-sensor {
			label = "Lid";
			gpios = <&gpio TEGRA_GPIO(S, 6) GPIO_ACTIVE_LOW>;	/* asusdec_hall_sensor, in, hi [open] */
			linux,input-type = <EV_SW>;
			linux,code = <SW_LID>;
			debounce-interval = <10>;
			wakeup-source;
		};

		ac-15v {
			label = "Power adapter 15V";
			gpios = <&gpio TEGRA_GPIO(H, 5) GPIO_ACTIVE_HIGH>;	/* LIMIT_SET1, in, lo [usb: pc] */
			linux,input-type = <EV_SW>;
			linux,code = <SW_DOCK>;
			debounce-interval = <10>;
			wakeup-source;
		};

		lineout-detect {
			label = "Audio dock line-out detect";
			gpios = <&gpio TEGRA_GPIO(X, 3) GPIO_ACTIVE_LOW>;	/* lineout_int, in, hi */
			linux,input-type = <EV_SW>;
			linux,code = <SW_LINEOUT_INSERT>;
			debounce-interval = <10>;
			wakeup-source;
		};
	};

	hdmi-cec@70015000 {
		status = "okay";
	};

	hda@70030000 {
		status = "okay";
	};

	thermal-zones {
		nct72-local {
			polling-delay-passive = <1000>; /* milliseconds */
			polling-delay = <0>; /* milliseconds */

			thermal-sensors = <&nct72 0>;
		};

		nct72-remote {
			polling-delay-passive = <1000>; /* milliseconds */
			polling-delay = <5000>; /* milliseconds */

			thermal-sensors = <&nct72 1>;

			trips {
				trip0: cpu-alert0 {
					/* start throttling at 50C */
					temperature = <50000>;
					hysteresis = <3000>;
					type = "passive";
				};

				trip1: cpu-crit {
					/* shut down at 60C */
					temperature = <60000>;
					hysteresis = <2000>;
					type = "critical";
				};
			};

			cooling-maps {
				map0 {
					trip = <&trip0>;
					cooling-device = <&cpu0 THERMAL_NO_LIMIT THERMAL_NO_LIMIT>;
				};
			};
		};
	};
};

/*
	interrupt-parent = <&gpio>;
	interrupts = <TEGRA_GPIO(S, 5) IRQ_TYPE_EDGE_BOTH>,	// dock_charging, in, lo
		     <TEGRA_GPIO(S, 4) IRQ_TYPE_EDGE_BOTH>;	// low_battery_detect, in, lo
		     <TEGRA_GPIO(N, 4) IRQ_TYPE_EDGE_BOTH>;	// battery_detect, in, lo
	interrupt-names = "dock-charging", "low", "detect";

	/delete-property/ interrupts;
	interrupts-extended = <&lic GIC_SPI 53 IRQ_TYPE_LEVEL_HIGH>,
				<&gpio TEGRA_GPIO(CC, 2) IRQ_TYPE_EDGE_FALLING>;	// temp_alert, in, hi	[LEVEL_LOW]
	interrupt-names = "irq", "smbus_alert";
*/
